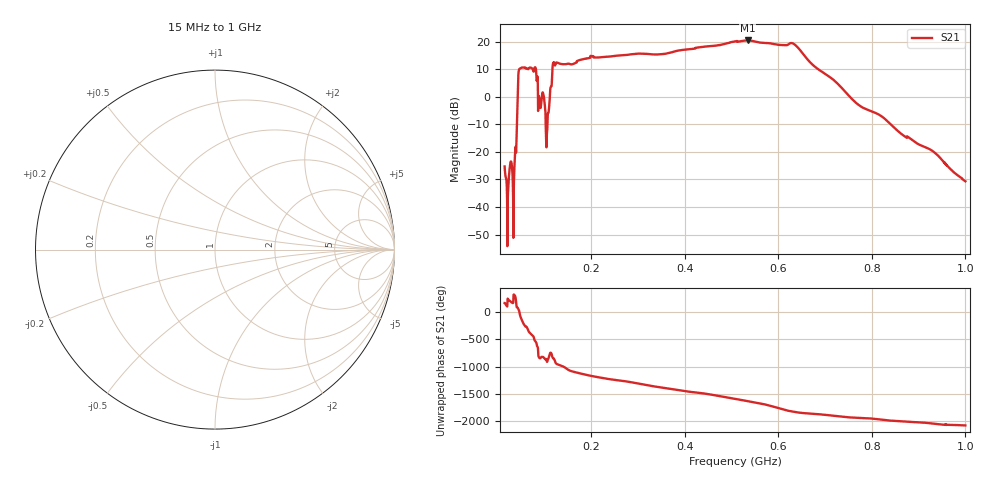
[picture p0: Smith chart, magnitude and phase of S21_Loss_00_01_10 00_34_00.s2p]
![Mode]
!Name=1
![AMP]
!LEV=0
!Step=20
![Maker]
!M1=88
!M2=64
![Freq]
!CENT=507500000
!SPAN=985000000
![CAL]
!CAL=3
![SweepPoint]
!Point=6
![CurveData]
# Hz S RI R 50
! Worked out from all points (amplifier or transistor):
!   3151 points, 15 MHz to 1 GHz, reference 50 ohm
!   highest |S21| = 20.4 dB at 534.4 MHz (marker M1)
!   |S21| within 3 dB of that: 419.6 MHz to 644.2 MHz (224.5 MHz wide, 42.2 % of centre)
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1.5e7  0 0  -0.0525 0.014  0 0  0 0
5.064762e7  0 0  -1.856 -2.772  0 0  0 0
6.002857e7  0 0  -0.2843 3.236  0 0  0 0
7.34746e7  0 0  1.542 -2.885  0 0  0 0
8.441905e7  0 0  -0.2141 2.058  0 0  0 0
1.175651e8  0 0  -1.501 -3.19  0 0  0 0
1.375778e8  0 0  0.0208 3.896  0 0  0 0
1.529e8  0 0  3.875 0.7301  0 0  0 0
1.794794e8  0 0  2.85 -3.754  0 0  0 0
2.032444e8  0 0  -0.727 -5.392  0 0  0 0
2.670349e8  0 0  -5.611 0.2101  0 0  0 0
3.43646e8  0 0  2.571 5.244  0 0  0 0
4.293254e8  0 0  5.813 -5.241  0 0  0 0
4.721651e8  0 0  -1.332 -8.477  0 0  0 0
5.075e8  0 0  -9.041 -4.415  0 0  0 0
5.343921e8  0 0  -10.09 2.725  0 0  0 0
5.775444e8  0 0  -0.1909 9.387  0 0  0 0
6.106905e8  0 0  8.369 2.036  0 0  0 0
6.363317e8  0 0  7.012 -5.066  0 0  0 0
6.719794e8  0 0  1.565 -3.566  0 0  0 0
8.36146e8  0 0  -0.337 0.0582  0 0  0 0
1e9  0 0  0.00583 0.0286  0 0  0 0
